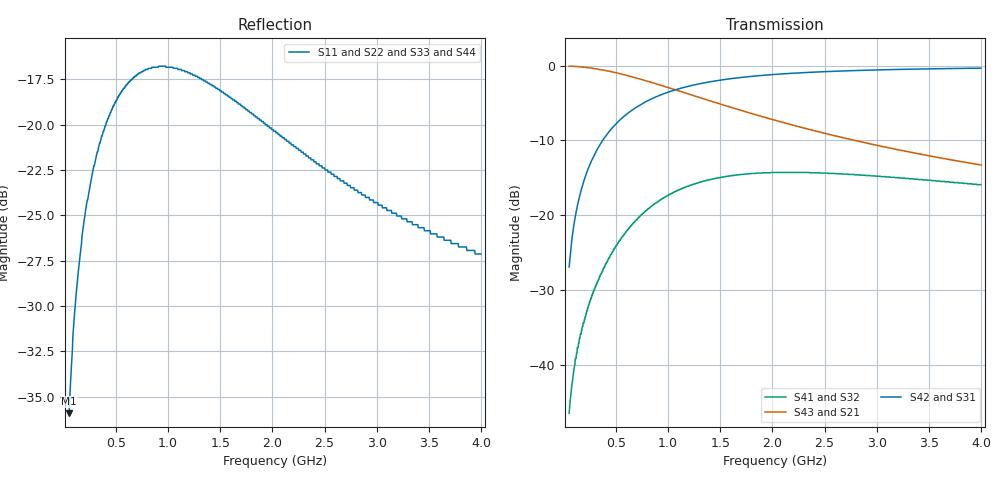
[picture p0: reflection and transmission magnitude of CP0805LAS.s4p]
# MHZ S MA R 50
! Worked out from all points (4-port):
!   1000 points, 50 MHz to 4 GHz, reference 50 ohm
!   strongest paths, dB at 50 MHz, 1.038 GHz, 2.027 GHz, 3.015 GHz, 4 GHz:
!     S42: -26.9, -3.4, -1.2, -0.6, -0.3
!     S31: -26.9, -3.4, -1.2, -0.6, -0.3
!     S43: -0.1, -3.1, -7.3, -10.7, -13.3
!     S21: -0.1, -3.1, -7.3, -10.7, -13.3
!     S41: -46.5, -17.1, -14.3, -14.8, -15.9
!     S32: -46.5, -17.1, -14.3, -14.8, -15.9
!   lowest |S11| = -35.9 dB at 50 MHz (marker M1), VSWR 1.03, Z = 50.7 - j1.44 ohm
!   |S11| at or under -10 dB: start of sweep to end of sweep
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50  0.016 -62.8  0.991 -2.0  0.045 87.9  0.004731 80.1
    0.991 -2.0  0.016 -62.8  0.004731 80.1  0.045 87.9
    0.045 87.9  0.004731 80.1  0.016 -62.8  0.991 -2.0
    0.004731 80.1  0.045 87.9  0.991 -2.0  0.016 -62.8
168.619  0.047 -89.6  0.979 -6.8  0.15 83.0  0.017 57.9
         0.979 -6.8  0.047 -89.6  0.017 57.9  0.15 83.0
         0.15 83.0  0.017 57.9  0.047 -89.6  0.979 -6.8
         0.017 57.9  0.15 83.0  0.979 -6.8  0.047 -89.6
358.408  0.092 -104.5  0.939 -14.0  0.306 75.5  0.041 29.0
         0.939 -14.0  0.092 -104.5  0.041 29.0  0.306 75.5
         0.306 75.5  0.041 29.0  0.092 -104.5  0.939 -14.0
         0.041 29.0  0.306 75.5  0.939 -14.0  0.092 -104.5
651.001  0.133 -119.1  0.842 -23.7  0.502 65.5  0.086 -0.8
         0.842 -23.7  0.133 -119.1  0.086 -0.8  0.502 65.5
         0.502 65.5  0.086 -0.8  0.133 -119.1  0.842 -23.7
         0.086 -0.8  0.502 65.5  0.842 -23.7  0.133 -119.1
1002.903  0.144 -130.2  0.712 -33.2  0.665 56.1  0.136 -22.4
          0.712 -33.2  0.144 -130.2  0.136 -22.4  0.665 56.1
          0.665 56.1  0.136 -22.4  0.144 -130.2  0.712 -33.2
          0.136 -22.4  0.665 56.1  0.712 -33.2  0.144 -130.2
2208.859  0.087 -137.9  0.398 -53.4  0.89 36.8  0.193 -53.5
          0.398 -53.4  0.087 -137.9  0.193 -53.5  0.89 36.8
          0.89 36.8  0.193 -53.5  0.087 -137.9  0.398 -53.4
          0.193 -53.5  0.89 36.8  0.398 -53.4  0.087 -137.9
4000  0.044 -122.3  0.217 -67.4  0.961 23.6  0.16 -68.1
      0.217 -67.4  0.044 -122.3  0.16 -68.1  0.961 23.6
      0.961 23.6  0.16 -68.1  0.044 -122.3  0.217 -67.4
      0.16 -68.1  0.961 23.6  0.217 -67.4  0.044 -122.3
